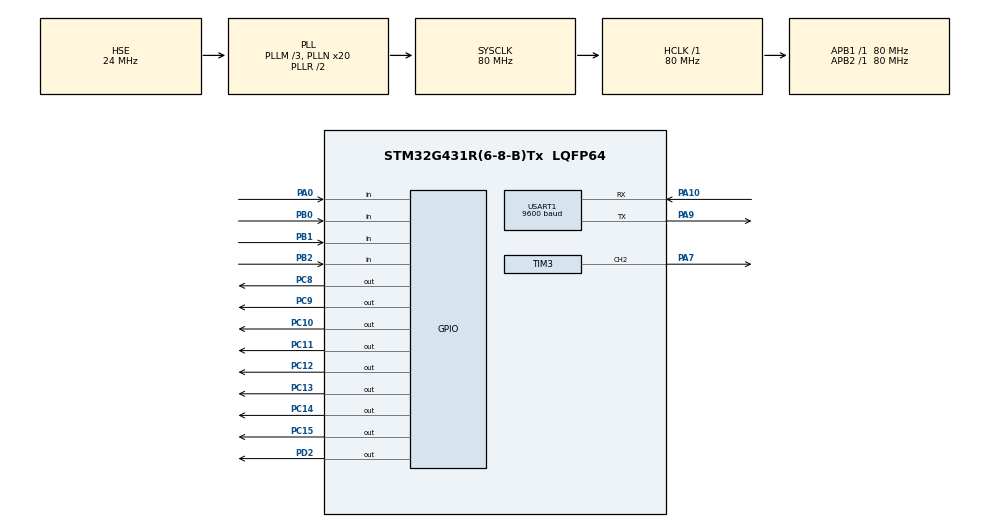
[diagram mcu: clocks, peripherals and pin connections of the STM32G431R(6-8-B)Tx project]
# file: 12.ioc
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Dma.Request0=USART1_RX
Dma.Request1=USART1_TX
Dma.USART1_RX.0.Direction=DMA_PERIPH_TO_MEMORY
Dma.USART1_RX.0.EventEnable=DISABLE
Dma.USART1_RX.0.Instance=DMA1_Channel1
Dma.USART1_RX.0.MemDataAlignment=DMA_MDATAALIGN_BYTE
Dma.USART1_RX.0.MemInc=DMA_MINC_ENABLE
Dma.USART1_RX.0.Mode=DMA_NORMAL
Dma.USART1_RX.0.PeriphDataAlignment=DMA_PDATAALIGN_BYTE
Dma.USART1_RX.0.PeriphInc=DMA_PINC_DISABLE
Dma.USART1_RX.0.Polarity=HAL_DMAMUX_REQ_GEN_RISING
Dma.USART1_RX.0.Priority=DMA_PRIORITY_LOW
Dma.USART1_RX.0.RequestNumber=1
Dma.USART1_RX.0.SignalID=NONE
Dma.USART1_RX.0.SyncEnable=DISABLE
Dma.USART1_RX.0.SyncPolarity=HAL_DMAMUX_SYNC_NO_EVENT
Dma.USART1_RX.0.SyncRequestNumber=1
Dma.USART1_RX.0.SyncSignalID=NONE
Dma.USART1_TX.1.Direction=DMA_MEMORY_TO_PERIPH
Dma.USART1_TX.1.EventEnable=DISABLE
Dma.USART1_TX.1.Instance=DMA1_Channel2
Dma.USART1_TX.1.MemDataAlignment=DMA_MDATAALIGN_BYTE
Dma.USART1_TX.1.MemInc=DMA_MINC_ENABLE
Dma.USART1_TX.1.Mode=DMA_NORMAL
Dma.USART1_TX.1.PeriphDataAlignment=DMA_PDATAALIGN_BYTE
Dma.USART1_TX.1.PeriphInc=DMA_PINC_DISABLE
Dma.USART1_TX.1.Polarity=HAL_DMAMUX_REQ_GEN_RISING
Dma.USART1_TX.1.Priority=DMA_PRIORITY_LOW
Dma.USART1_TX.1.RequestNumber=1
Dma.USART1_TX.1.SignalID=NONE
Dma.USART1_TX.1.SyncEnable=DISABLE
Dma.USART1_TX.1.SyncPolarity=HAL_DMAMUX_SYNC_NO_EVENT
Dma.USART1_TX.1.SyncRequestNumber=1
Dma.USART1_TX.1.SyncSignalID=NONE
Mcu.Family=STM32G4
Mcu.Name=STM32G431R(6-8-B)Tx
Mcu.Package=LQFP64
NVIC.DMA1_Channel1_IRQn=true\:0\:0\:false\:false\:true\:false\:true
NVIC.DMA1_Channel2_IRQn=true\:0\:0\:false\:false\:true\:false\:true
NVIC.PriorityGroup=NVIC_PRIORITYGROUP_4
NVIC.USART1_IRQn=true\:0\:0\:false\:false\:true\:true\:true
PA0.Signal=GPIO_Input
PA10.Mode=Asynchronous
PA10.Signal=USART1_RX
PA13.Mode=Serial_Wire
PA13.Signal=SYS_JTMS-SWDIO
PA14.Mode=Serial_Wire
PA14.Signal=SYS_JTCK-SWCLK
PA7.Signal=S_TIM3_CH2
PA9.Mode=Asynchronous
PA9.Signal=USART1_TX
PB0.Signal=GPIO_Input
PB1.Signal=GPIO_Input
PB2.Signal=GPIO_Input
PC10.Signal=GPIO_Output
PC11.Signal=GPIO_Output
PC12.Signal=GPIO_Output
PC13.Signal=GPIO_Output
PC14-OSC32_IN.Signal=GPIO_Output
PC15-OSC32_OUT.Signal=GPIO_Output
PC8.Signal=GPIO_Output
PC9.Signal=GPIO_Output
PD2.Signal=GPIO_Output
PF0-OSC_IN.Mode=HSE-External-Oscillator
PF0-OSC_IN.Signal=RCC_OSC_IN
PF1-OSC_OUT.Mode=HSE-External-Oscillator
PF1-OSC_OUT.Signal=RCC_OSC_OUT
ProjectManager.HeapSize=0x200
ProjectManager.StackSize=0x400
ProjectManager.TargetToolchain=MDK-ARM V5.27
RCC.ADC12Freq_Value=80000000
RCC.AHBFreq_Value=80000000
RCC.APB1Freq_Value=80000000
RCC.APB1TimFreq_Value=80000000
RCC.APB2Freq_Value=80000000
RCC.APB2TimFreq_Value=80000000
RCC.CortexFreq_Value=80000000
RCC.EXTERNAL_CLOCK_VALUE=12288000
RCC.HCLKFreq_Value=80000000
RCC.HSE_VALUE=24000000
RCC.HSI48_VALUE=48000000
RCC.HSI_VALUE=16000000
RCC.LSE_VALUE=32768
RCC.PLLM=RCC_PLLM_DIV3
RCC.PLLN=20
RCC.PLLSourceVirtual=RCC_PLLSOURCE_HSE
RCC.SYSCLKFreq_VALUE=80000000
RCC.SYSCLKSource=RCC_SYSCLKSOURCE_PLLCLK
RCC.USBFreq_Value=80000000
RCC.VCOOutputFreq_Value=160000000
SH.S_TIM3_CH2.0=TIM3_CH2,PWM Generation2 CH2
TIM3.Channel-PWM\ Generation2\ CH2=TIM_CHANNEL_2
TIM3.PeriodNoDither=500
TIM3.Prescaler=79
TIM3.PulseNoDither_2=100
USART1.BaudRate=9600
USART1.VirtualMode-Asynchronous=VM_ASYNC
VP_SYS_VS_DBSignals.Mode=DisableDeadBatterySignals
VP_TIM3_VS_ClockSourceINT.Mode=Internal
board=custom

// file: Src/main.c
/* USER CODE BEGIN Header */
/**
  ******************************************************************************
  * @file           : main.c
  * @brief          : Main program body
  ******************************************************************************
  * @attention
  *
  * <h2><center>&copy; Copyright (c) 2023 STMicroelectronics.
  * All rights reserved.</center></h2>
  *
  * This software component is licensed by ST under BSD 3-Clause license,
  * the "License"; You may not use this file except in compliance with the
  * License. You may obtain a copy of the License at:
  *                        opensource.org/licenses/BSD-3-Clause
  *
  ******************************************************************************
  */
/* USER CODE END Header */

#include "main.h"
#include "dma.h"
#include "tim.h"
#include "usart.h"
#include "gpio.h"

/* USER CODE BEGIN Includes */
#include "lcd_hal.h"
#include "lcd.h"
#include "led.h"
#include "key.h"
#include <stdio.h>
#include <string.h>
/* USER CODE END Includes */

/* USER CODE BEGIN PV */

struct CarInfer{
	u8 state;//车位的使用状态 0代表没有使用 1代表已经被使用
	uint8_t CarType[5];//停车的类型
	uint8_t ID[5];//车号
	u16 Year;//停车时间年份
	u8 Month;//停车时间月份
	u8 Day;//停车时间天
	u8 hour;//停车时间小时
	u8 min;//停车时间分
	u8 sec;//停车时间秒
};

//建立一个停车场数组
struct CarInfer All_Set[8];
//建立一个临时信息数组
struct CarInfer TempData;

uint16_t Cnber_Car_Num=0;
uint16_t Vnber_Car_Num=0;
uint16_t Rest_Car_Num=8;
double Cnber_Car_Rate=3.5;
double Vnber_Car_Rate=2.0;

uint8_t Ds_Mode=0;//0代表车位显示界面 1代表费率显示界面
uint8_t Ds_Mode_old=1;

uint8_t Pluse_Out=0;

uint8_t Rx_Str[44];
char Tx_Str[40];

uint8_t CarSection;
char temp1[20];
char temp2[20];
/* USER CODE END PV */

void SystemClock_Config(void);

/* USER CODE BEGIN 0 */
void InterFaceOneKeyFunc(void);
void InterFaceTwoKeyFunc(void);
int FormRight(uint8_t * Rx_Str);
int CreateCar(uint8_t* RxStr);
void InitCar(void);
void StoreCar(uint8_t* RxStr,int i);
int CarExist(uint8_t* RxStr);
uint8_t CaculateTatolFee(uint8_t* Rx_Str,int CarSection);
void SendAndCacualte(uint8_t time,int CarSection);
void LedControl(void);

void HAL_UART_RxCpltCallback(UART_HandleTypeDef *huart)
{
	HAL_UART_Receive_DMA(&huart1,(uint8_t*)Rx_Str,22);
	if(FormRight(Rx_Str))
	{
		//格式正确不发送消息
		//判断是进入停车场还是出去停车场
		CarSection = CarExist(Rx_Str);
		if(CarSection == 8)
		{
			//进入停车场创建停车信息
			CreateCar(Rx_Str);
		}
		else
		{
			//出去停车场计算费用信息 计算停车时间和费用
			SendAndCacualte(CaculateTatolFee(Rx_Str,CarSection),CarSection);
		}
		//对车位进行修改
	}
	else
	{
		//格式错误发送Error
		HAL_UART_Transmit_DMA(&huart1,"Error\r\n",11);
	}

	//更新屏幕显示
	if(Ds_Mode == 0) Dis_One_All( All_Set[0].Day, Vnber_Car_Num, 8-Vnber_Car_Num-Cnber_Car_Num);
	if(Ds_Mode == 1) Dis_Two_All( Cnber_Car_Rate, Vnber_Car_Rate);
}
/* USER CODE END 0 */

int main(void)
{

  /* MCU Configuration--------------------------------------------------------*/

  /* Reset of all peripherals, Initializes the Flash interface and the Systick. */
  HAL_Init();

  /* Configure the system clock */
  SystemClock_Config();

  /* Initialize all configured peripherals */
  MX_GPIO_Init();
  MX_DMA_Init();
  MX_TIM3_Init();
  MX_USART1_UART_Init();
  /* USER CODE BEGIN 2 */
	HAL_TIM_PWM_Start(&htim3,TIM_CHANNEL_2);
	__HAL_TIM_SET_COMPARE(&htim3,TIM_CHANNEL_2,0);
	//接受到多少个字符后进入中断
	HAL_UART_Receive_DMA(&huart1,Rx_Str,22);
	InitCar();//初始化车位状态
	CloseAllLed();
	LCD_Init();
	LCD_Clear(Black);
	LCD_SetTextColor(White);
	LCD_SetBackColor(Black);
  /* USER CODE END 2 */

  /* Infinite loop */
  /* USER CODE BEGIN WHILE */
  while (1)
  {
	  if(Ds_Mode != Ds_Mode_old )
	  {
		if(Ds_Mode == 0) Dis_One_All( Cnber_Car_Num, Vnber_Car_Num, 8-Vnber_Car_Num-Cnber_Car_Num);
		if(Ds_Mode == 1) Dis_Two_All( Cnber_Car_Rate, Vnber_Car_Rate);

		Ds_Mode_old = Ds_Mode;
	  }

	  //按键标志位进行按键判断
	  if(Key_Flag == 1)
	  {
		Key_Flag=0;//清空标志位
		if(Ds_Mode == 1) InterFaceOneKeyFunc();		//费率显示界面专用按键函数
		else InterFaceTwoKeyFunc();					//车位显示界面专用按键函数
	  }

	  sprintf(temp2,"%s",All_Set[7].CarType);//可能有四字节对齐，显示接下来的内容
	  //sprintf(temp2,"%s%s***",All_Set[0].ID,All_Set[0].CarType);
	  sprintf(temp1,"%d %d %d %d %d %d %d",All_Set[7].Year,All_Set[7].Month,All_Set[7].Day,All_Set[7].hour,All_Set[7].min,All_Set[7].sec,CarSection);
	  LCD_DisplayStringLine(Line9,(uint8_t*)temp1);
	  LCD_DisplayStringLine(Line8,(uint8_t*)temp2);
	  LCD_DisplayStringLine(Line2,(uint8_t*)Rx_Str);
	  LedControl();
    /* USER CODE END WHILE */

  }
}

void SystemClock_Config(void)
{
  RCC_OscInitTypeDef RCC_OscInitStruct = {0};
  RCC_ClkInitTypeDef RCC_ClkInitStruct = {0};
  RCC_PeriphCLKInitTypeDef PeriphClkInit = {0};

  /** Configure the main internal regulator output voltage
  */
  HAL_PWREx_ControlVoltageScaling(PWR_REGULATOR_VOLTAGE_SCALE1);
  /** Initializes the CPU, AHB and APB busses clocks
  */
  RCC_OscInitStruct.OscillatorType = RCC_OSCILLATORTYPE_HSE;
  RCC_OscInitStruct.HSEState = RCC_HSE_ON;
  RCC_OscInitStruct.PLL.PLLState = RCC_PLL_ON;
  RCC_OscInitStruct.PLL.PLLSource = RCC_PLLSOURCE_HSE;
  RCC_OscInitStruct.PLL.PLLM = RCC_PLLM_DIV3;
  RCC_OscInitStruct.PLL.PLLN = 20;
  RCC_OscInitStruct.PLL.PLLP = RCC_PLLP_DIV2;
  RCC_OscInitStruct.PLL.PLLQ = RCC_PLLQ_DIV2;
  RCC_OscInitStruct.PLL.PLLR = RCC_PLLR_DIV2;
  if (HAL_RCC_OscConfig(&RCC_OscInitStruct) != HAL_OK)
  {
    Error_Handler();
  }
  /** Initializes the CPU, AHB and APB busses clocks
  */
  RCC_ClkInitStruct.ClockType = RCC_CLOCKTYPE_HCLK|RCC_CLOCKTYPE_SYSCLK
                              |RCC_CLOCKTYPE_PCLK1|RCC_CLOCKTYPE_PCLK2;
  RCC_ClkInitStruct.SYSCLKSource = RCC_SYSCLKSOURCE_PLLCLK;
  RCC_ClkInitStruct.AHBCLKDivider = RCC_SYSCLK_DIV1;
  RCC_ClkInitStruct.APB1CLKDivider = RCC_HCLK_DIV1;
  RCC_ClkInitStruct.APB2CLKDivider = RCC_HCLK_DIV1;

  if (HAL_RCC_ClockConfig(&RCC_ClkInitStruct, FLASH_LATENCY_3) != HAL_OK)
  {
    Error_Handler();
  }
  /** Initializes the peripherals clocks
  */
  PeriphClkInit.PeriphClockSelection = RCC_PERIPHCLK_USART1;
  PeriphClkInit.Usart1ClockSelection = RCC_USART1CLKSOURCE_PCLK2;
  if (HAL_RCCEx_PeriphCLKConfig(&PeriphClkInit) != HAL_OK)
  {
    Error_Handler();
  }
}

/* USER CODE BEGIN 4 */

//定义界面1按键功能函数 界面1为车位显示界面
void InterFaceOneKeyFunc(void)
{
	//界面1按键功能执行
	switch(Key_Value)
	{
		case 1:
			if(++ Ds_Mode == 2) Ds_Mode = 0;
			break;
		case 2:
			//调整费率
			Cnber_Car_Rate += 0.5;
			Vnber_Car_Rate += 0.5;
			//更新显示
			Dis_Two_All( Cnber_Car_Rate, Vnber_Car_Rate);
			break;
		case 3:
			//调整费率
			if(Vnber_Car_Rate > 0)
			{
				Cnber_Car_Rate -= 0.5;
				Vnber_Car_Rate -= 0.5;
			}
			//更新显示
			Dis_Two_All( Cnber_Car_Rate, Vnber_Car_Rate);
			break;
		case 4:
			Pluse_Out = !Pluse_Out;
			if(Pluse_Out == 0) __HAL_TIM_SET_COMPARE(&htim3,TIM_CHANNEL_2,0);
			else __HAL_TIM_SET_COMPARE(&htim3,TIM_CHANNEL_2,100);
			break;
	}
}

//定义界面2按键功能函数 界面2为费率设置界面
void InterFaceTwoKeyFunc(void)
{
	switch(Key_Value)
	{
		case 1:
			if(++ Ds_Mode == 2) Ds_Mode = 0;
			break;
		case 2:
			//无功能
			break;
		case 3:
			//无功能
			break;
		case 4:
			Pluse_Out = !Pluse_Out;
			if(Pluse_Out == 0) __HAL_TIM_SET_COMPARE(&htim3,TIM_CHANNEL_2,0);
			else __HAL_TIM_SET_COMPARE(&htim3,TIM_CHANNEL_2,100);
			break;
	}
}

//检查接受字符串是否格式正确 返回1代表格式正确 返回0代表格式错误
int FormRight(uint8_t * Rx_Str)
{
	int i;
	int stream=0;//流程变量，每一次判断通过之后加一，达到指定的值输出1
	//分号判断
	if(stream == 0 && Rx_Str[9] == ':' && Rx_Str[4] == ':') stream++;
	//日期是数字判断
	if(stream == 1)
	{
		i=10;
		//判断从Rx_Str[10]到Rx_Str[21]是不是数字
		while(Rx_Str[i] >= '0' && Rx_Str[i] <= '9' && i<=21) i++;
		if(i==22) stream++;
		else return 0;
	}
	//停车类型只能是VNBR和CNBR判断
	if(Rx_Str[0] == 'V' || Rx_Str[0] == 'C')
	{
		if(Rx_Str[1] == 'N' && Rx_Str[2] == 'B' && Rx_Str[3] == 'R') stream++;
	}

	//所有格式判断通过
	if(stream==3) return 1;

	return 0;
}

//创建一个车位函数 代表这个车位被使用了
//返回1代表成功停车 0代表车位已经满了
int CreateCar(uint8_t* RxStr)
{
	int i;
	//查找空闲的车位
	for(i=0;i<8;i++)
	{
		if(All_Set[i].state == 0)//发现空闲车位
		{
			//存入空闲车位的信息
			StoreCar(RxStr,i);
			//存入完成 输出1
			return 1;
		}
	}
	return 0;
}

//存入车位信息
void StoreCar(uint8_t* RxStr,int i)
{
	//车的类型
	All_Set[i].CarType[0]=RxStr[0];
	All_Set[i].CarType[1]=RxStr[1];
	All_Set[i].CarType[2]=RxStr[2];
	All_Set[i].CarType[3]=RxStr[3];

	//车号
	All_Set[i].ID[0]=RxStr[5];
	All_Set[i].ID[1]=RxStr[6];
	All_Set[i].ID[2]=RxStr[7];
	All_Set[i].ID[3]=RxStr[8];

	//年份
	All_Set[i].Year=(RxStr[10]-48)*10+(RxStr[11]-48);

	//月份
	All_Set[i].Month=(RxStr[12]-48)*10+(RxStr[13]-48);

	//天
	All_Set[i].Day=(RxStr[14]-48)*10+(RxStr[15]-48);

	//时分秒
	All_Set[i].hour=(RxStr[16]-48)*10+(RxStr[17]-48);
	All_Set[i].min=(RxStr[18]-48)*10+(RxStr[19]-48);
	All_Set[i].sec=(RxStr[20]-48)*10+(RxStr[21]-48);

	//车位已经被占
	All_Set[i].state=1;
}

//停车场车位状态数据初始化
void InitCar()
{
	int i;
	for(i=0;i<8;i++)
	{
		//初始化所有车位都没有使用
		All_Set[i].state=0;
	}
}

//返回参数i 代表这个车已经存在第i个停车位停车场
//返回参数8 代表这个车不存在停车场
int CarExist(uint8_t* RxStr)
{
	int i;
	//从有车停的车位之中找到相同的车号
	//可以认为是出停车场
	for(i=0;i<8;i++)
	{
		if(All_Set[i].state == 1)//从已经停了车的位置找到和车号相同的车
		{
			if(RxStr[5]==All_Set[i].ID[0] && RxStr[6]==All_Set[i].ID[1] && RxStr[7]==All_Set[i].ID[2] && RxStr[8]==All_Set[i].ID[3])
			{
				//找到了相同的车号
				//判断是出停车场
				return i;
			}
		}
	}
	return 8;
}

//根据当前停车信息和之前的入场信息进行时间
//函数返回小时数
uint8_t CaculateTatolFee(uint8_t* Rx_Str,int CarSection)
{
	uint8_t temp=0;
	//将接受到的新时间存入到临时结构体
	StoreCar(Rx_Str,0);

	if(All_Set[CarSection].min < (Rx_Str[18]-48)*10+(Rx_Str[19]-48)) temp=1;//不足一小时取一小时
	else if(All_Set[CarSection].min == (Rx_Str[18]-48)*10+(Rx_Str[19]-48))
	{
		if(All_Set[CarSection].sec < (Rx_Str[20]-48)*10+(Rx_Str[21]-48)) temp=1;//不足一小时取一小时
	}

	temp += ((Rx_Str[16]-48)*10+(Rx_Str[17]-48) - All_Set[CarSection].hour);

	return temp;
}

//计算总停车费用和发送要求的字符串
void SendAndCacualte(uint8_t time,int CarSection)
{
	double temp_rate;
	if(All_Set[CarSection].CarType[0]=='V') temp_rate = Vnber_Car_Rate;
	else temp_rate = Cnber_Car_Rate;
	sprintf(Tx_Str,"%s:%s:%d:%.2f  \r\n",All_Set[CarSection].CarType,All_Set[CarSection].ID,time,time*temp_rate);
	HAL_UART_Transmit_DMA(&huart1,(uint8_t*)Tx_Str,strlen(Tx_Str));
}

void LedControl(void)
{
	int free,i;
	//查询是否有空闲车位
	for(i=0;i<8;i++)
	{
		if(All_Set[i].state==0)
		{
			free=1;
			break;
		}
		else free=0;
	}

	//根据free和Pluse_Out标志来选择led的亮灭
	HAL_GPIO_WritePin(GPIOC,GPIO_PIN_8 | GPIO_PIN_9 | GPIO_PIN_10 | GPIO_PIN_11 |
							GPIO_PIN_12 | GPIO_PIN_13 | GPIO_PIN_14 | GPIO_PIN_15 ,GPIO_PIN_SET);
	HAL_GPIO_WritePin(GPIOD,GPIO_PIN_2,GPIO_PIN_SET);
	if(free) HAL_GPIO_WritePin(GPIOC,GPIO_PIN_8 ,GPIO_PIN_RESET);
	if(Pluse_Out) HAL_GPIO_WritePin(GPIOC,GPIO_PIN_9 ,GPIO_PIN_RESET);
	HAL_GPIO_WritePin(GPIOD,GPIO_PIN_2,GPIO_PIN_RESET);
}

/* USER CODE END 4 */

void Error_Handler(void)
{
}

/************************ (C) COPYRIGHT STMicroelectronics *****END OF FILE****/
